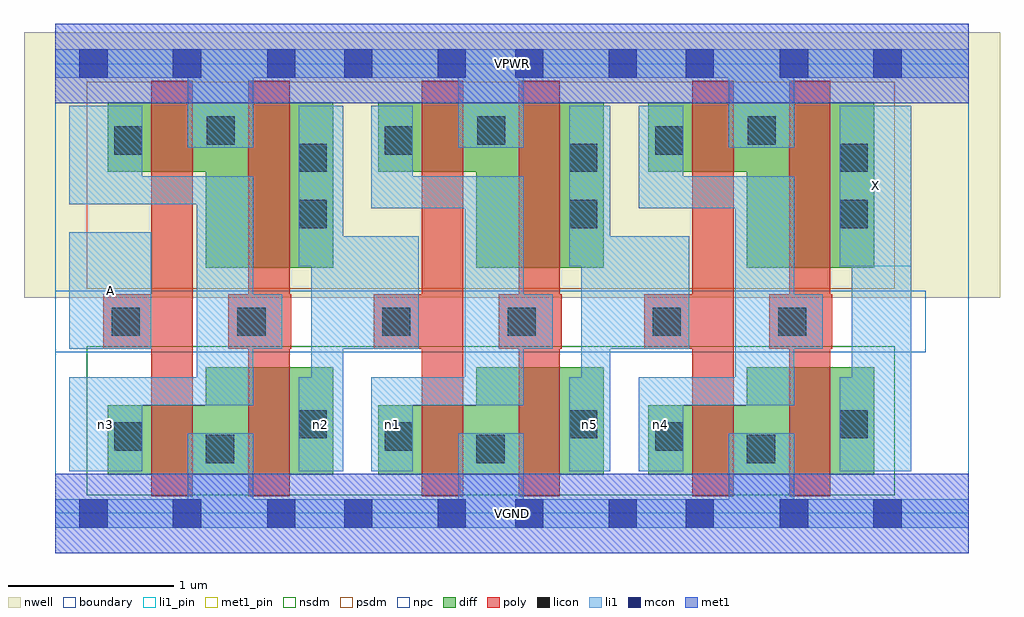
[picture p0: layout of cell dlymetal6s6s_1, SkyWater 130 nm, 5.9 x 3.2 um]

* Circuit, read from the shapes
.subckt dlymetal6s6s_1 A VGND VPWR X n1 n2 n3 n4 n5
XM1 VGND A n3 VSUBS sky130_fd_pr__nfet_01v8 w=0.42 l=0.25
XM2 n2 n3 VGND VSUBS sky130_fd_pr__nfet_01v8 w=0.65 l=0.25
XM3 VGND n2 n1 VSUBS sky130_fd_pr__nfet_01v8 w=0.42 l=0.25
XM4 n5 n1 VGND VSUBS sky130_fd_pr__nfet_01v8 w=0.65 l=0.25
XM5 VGND n5 n4 VSUBS sky130_fd_pr__nfet_01v8 w=0.42 l=0.25
XM6 X n4 VGND VSUBS sky130_fd_pr__nfet_01v8 w=0.65 l=0.25
XM7 VPWR A n3 n6 sky130_fd_pr__pfet_01v8 w=0.42 l=0.25
XM8 n2 n3 VPWR n6 sky130_fd_pr__pfet_01v8 w=1 l=0.25
XM9 VPWR n2 n1 n6 sky130_fd_pr__pfet_01v8 w=0.42 l=0.25
XM10 n5 n1 VPWR n6 sky130_fd_pr__pfet_01v8 w=1 l=0.25
XM11 VPWR n5 n4 n6 sky130_fd_pr__pfet_01v8 w=0.42 l=0.25
XM12 X n4 VPWR n6 sky130_fd_pr__pfet_01v8 w=1 l=0.25
.ends

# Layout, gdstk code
import gdstk
lib = gdstk.Library(unit=1e-6, precision=1e-09)
def R(c, l, rs):  # rectangles x0, y0, x1, y1
    for r in rs: c.add(gdstk.rectangle(r[:2], r[2:], *l))
def A(c, l, x, y, w, h, nx, ny, dx, dy):  # array of equal rectangles
    R(c, l, [(x+i*dx, y+j*dy, x+i*dx+w, y+j*dy+h) for i in range(nx) for j in range(ny)])
nwell = (64, 20)
diff = (65, 20)
poly = (66, 20)
licon = (66, 44)
li1_pin = (67, 16)
li1 = (67, 20)
mcon = (67, 44)
met1_pin = (68, 16)
met1 = (68, 20)
nsdm = (93, 44)
psdm = (94, 20)
npc = (95, 20)
boundary = (235, 4)

dlymetal6s6s_1 = lib.new_cell('dlymetal6s6s_1')
R(dlymetal6s6s_1, nwell, [(-0.19,1.305,5.71,2.91), (0,1.305,5.52,2.91)])
A(dlymetal6s6s_1, diff, 0.315, 0.235, 1.365, 0.42, 3, 2, 1.635, 1.83)
A(dlymetal6s6s_1, diff, 0.91, 0.235, 0.77, 0.65, 3, 1, 1.635, 0)
A(dlymetal6s6s_1, diff, 0.91, 1.485, 0.77, 1, 3, 1, 1.635, 0)
A(dlymetal6s6s_1, poly, 0.29, 0.995, 0.54, 0.33, 3, 1, 1.635, 0)
A(dlymetal6s6s_1, poly, 1.045, 0.995, 0.38, 0.33, 3, 1, 1.635, 0)
R(dlymetal6s6s_1, poly, [(0.58,0.105,0.83,2.615), (1.165,0.105,1.415,2.615), (2.215,0.105,2.465,2.615), (2.8,0.105,3.05,2.615), (3.85,0.105,4.1,2.615), (4.435,0.105,4.685,2.615)])
A(dlymetal6s6s_1, licon, 0.91, 0.305, 0.17, 0.17, 3, 1, 1.635, 0)
A(dlymetal6s6s_1, licon, 0.355, 0.38, 0.17, 0.17, 3, 2, 1.635, 1.79)
A(dlymetal6s6s_1, licon, 1.47, 0.455, 0.17, 0.17, 3, 2, 1.635, 1.27)
A(dlymetal6s6s_1, licon, 1.47, 2.065, 0.17, 0.17, 3, 1, 1.635, 0)
A(dlymetal6s6s_1, licon, 0.915, 2.23, 0.17, 0.17, 3, 1, 1.635, 0)
R(dlymetal6s6s_1, licon, [(0.34,1.075,0.51,1.245), (1.1,1.075,1.27,1.245), (1.975,1.075,2.145,1.245), (2.735,1.075,2.905,1.245), (3.61,1.075,3.78,1.245), (4.37,1.075,4.54,1.245)])
R(dlymetal6s6s_1, li1_pin, [(0.085,0.995,0.58,1.7), (4.74,1.495,5.175,2.465)])
A(dlymetal6s6s_1, li1, 0.8, -0.085, 0.395, 0.57, 3, 1, 1.635, 0)
A(dlymetal6s6s_1, li1, 0.8, 2.21, 0.395, 0.595, 3, 1, 1.635, 0)
R(dlymetal6s6s_1, li1, [(0,-0.085,5.52,0.085), (0.085,0.255,0.525,0.825), (1.47,0.255,1.74,0.825), (1.545,0.255,1.74,2.465), (1.91,0.255,2.16,0.825), (3.105,0.255,3.355,0.825), (3.18,0.255,3.355,2.465), (3.525,0.255,3.795,0.825), (4.74,0.255,5.175,0.825), (4.815,0.255,5.175,2.465), (0.085,0.655,1.195,0.825), (0.855,0.655,1.195,2.04), (1.91,0.655,2.83,0.825), (2.475,0.655,2.83,2.04), (3.525,0.655,4.465,0.825), (4.11,0.655,4.465,2.04), (0.085,0.995,0.58,1.7), (0.855,0.995,1.37,1.325), (1.545,0.995,2.195,1.675), (2.475,0.995,3.005,1.325), (3.18,0.995,3.83,1.675), (4.11,0.995,4.64,1.325), (1.47,1.495,1.74,2.465), (3.105,1.495,3.355,2.465), (4.74,1.495,5.175,2.465), (1.91,1.845,2.16,2.465), (1.91,1.845,2.83,2.04), (3.525,1.845,3.795,2.465), (3.525,1.845,4.465,2.04), (0.085,1.87,1.195,2.04), (0.085,1.87,0.525,2.465), (0,2.635,5.52,2.805)])
R(dlymetal6s6s_1, mcon, [(0.145,-0.085,0.315,0.085), (0.71,-0.085,0.88,0.085), (1.28,-0.085,1.45,0.085), (1.745,-0.085,1.915,0.085), (2.31,-0.085,2.48,0.085), (2.78,-0.085,2.95,0.085), (3.345,-0.085,3.515,0.085), (3.81,-0.085,3.98,0.085), (4.38,-0.085,4.55,0.085), (4.945,-0.085,5.115,0.085), (0.145,2.635,0.315,2.805), (0.71,2.635,0.88,2.805), (1.28,2.635,1.45,2.805), (1.745,2.635,1.915,2.805), (2.31,2.635,2.48,2.805), (2.78,2.635,2.95,2.805), (3.345,2.635,3.515,2.805), (3.81,2.635,3.98,2.805), (4.38,2.635,4.55,2.805), (4.945,2.635,5.115,2.805)])
R(dlymetal6s6s_1, met1_pin, [(0,-0.24,5.52,0.24), (0,2.48,5.52,2.96)])
R(dlymetal6s6s_1, met1, [(0,-0.24,5.52,0.24), (0,2.48,5.52,2.96)])
R(dlymetal6s6s_1, nsdm, [(0.19,0.11,5.075,1.01)])
R(dlymetal6s6s_1, psdm, [(0.19,1.36,5.075,2.61)])
R(dlymetal6s6s_1, npc, [(0,0.975,5.26,1.345)])
R(dlymetal6s6s_1, boundary, [(0,0,5.52,2.72)])
dlymetal6s6s_1.add(gdstk.Label('A', (0.332,1.347), layer=67, texttype=5))
dlymetal6s6s_1.add(gdstk.Label('X', (4.957,1.98), layer=67, texttype=5))
dlymetal6s6s_1.add(gdstk.Label('n3', (0.305,0.54), layer=67, texttype=5))
dlymetal6s6s_1.add(gdstk.Label('n2', (1.605,0.54), layer=67, texttype=5))
dlymetal6s6s_1.add(gdstk.Label('n1', (2.035,0.54), layer=67, texttype=5))
dlymetal6s6s_1.add(gdstk.Label('n5', (3.23,0.54), layer=67, texttype=5))
dlymetal6s6s_1.add(gdstk.Label('n4', (3.66,0.54), layer=67, texttype=5))
dlymetal6s6s_1.add(gdstk.Label('VPWR', (2.76,2.72), layer=68, texttype=5))
dlymetal6s6s_1.add(gdstk.Label('VGND', (2.76,0), layer=68, texttype=5))
dlymetal6s6s_1.add(gdstk.Label('A', (0.332,1.347), layer=67, texttype=16))
dlymetal6s6s_1.add(gdstk.Label('X', (4.957,1.98), layer=67, texttype=16))
dlymetal6s6s_1.add(gdstk.Label('VPWR', (2.76,2.72), layer=68, texttype=16))
dlymetal6s6s_1.add(gdstk.Label('VGND', (2.76,0), layer=68, texttype=16))

lib.write_gds('dlymetal6s6s_1.gds')
